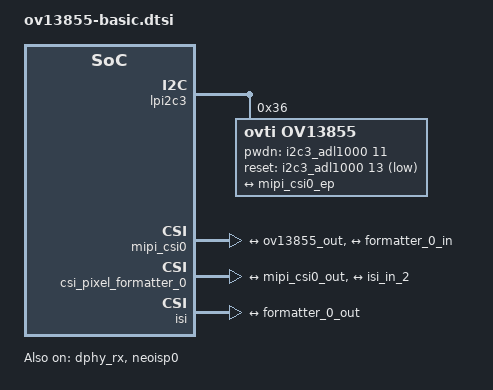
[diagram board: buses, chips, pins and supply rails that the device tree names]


&scmi_iomuxc {
	pinctrl_csi_mclk: csi_mclk {
		fsl,pins = <
			IMX95_PAD_CCM_CLKO1__CCMSRCGPCMIX_TOP_CLKO_1	0x39e
		>;
	};
};
&lpi2c3 {
	#address-cells = <1>;
	#size-cells = <0>;
	status = "okay";
	/*
	ov5640_0: ov5640_mipi@3c {
		compatible = "ovti,ov5640";
		reg = <0x3c>;
		pinctrl-names = "default";
		pinctrl-0 = <&pinctrl_csi_mclk>;
		clocks = <&scmi_clk IMX95_CLK_CCMCKO1>;
		clock-names = "xclk";
		assigned-clocks = <&scmi_clk IMX95_CLK_CCMCKO1>;
		assigned-clock-parents = <&osc_24m>;
		assigned-clock-rates = <24000000>;
		powerdown-gpios = <&i2c3_adl1000 10 GPIO_ACTIVE_HIGH>; 	//CN_GPIO0_CAM0_PWR#_1V8
		reset-gpios = <&i2c3_adl1000 12 GPIO_ACTIVE_LOW>;	//CN_GPIO2_CAM0_RST#_1V8
		status = "okay";
		port {
			ov13855_mipi_0_ep: endpoint {
				remote-endpoint = <&mipi_csi0_ep>;
				data-lanes = <1 2>;
				clock-lanes = <0>;
			};
		};
	};
	*/

	ov13855: ov13855_mipi@36 {
		compatible = "ovti,ov13855";				/*"ov13855_mipi";*/
		reg = <0x36>;
		clocks = <&dummy>;					/*dummy*/
	    clock-names = "xvclk";					/*clock-names = "csi_mclk";*/
		pwdn-gpios = <&i2c3_adl1000 11 GPIO_ACTIVE_HIGH>;
		reset-gpios = <&i2c3_adl1000 13 GPIO_ACTIVE_LOW>;
		mclk = <24000000>;
		mclk_source = <0>;
		virtual_channel = <0>;
		mipi_csi;
		status = "okay";
		port@0 {
			ov13855_out: endpoint {
					 remote-endpoint = <&mipi_csi0_ep>;
					 data-lanes = <1 2 3 4>;
					 clock-lanes = <0>;
			};
		};
	};
};
&dphy_rx {
	status = "okay";
};
&mipi_csi0 {
	status = "okay";
	ports {
		#address-cells = <1>;
		#size-cells = <0>;
		port@0 {
			reg = <0>;
			mipi_csi0_ep: endpoint {
				remote-endpoint = <&ov13855_out>;
				data-lanes = <1 2 3 4>;
				clock-lanes = <0>;
			};
		};
		port@1 {
			reg = <1>;
				mipi_csi0_out: endpoint {
				remote-endpoint = <&formatter_0_in>;
			};
		};
	};
};
&csi_pixel_formatter_0 {
	status = "okay";
	ports {
		#address-cells = <1>;
		#size-cells = <0>;
		port@0 {
			reg = <0>;
			formatter_0_in: endpoint {
				remote-endpoint = <&mipi_csi0_out>;
			};
		};
		port@1 {
			reg = <1>;
			formatter_0_out: endpoint {
				remote-endpoint = <&isi_in_2>;
			};
		};
	};
};
&isi {
	status = "okay";
	ports {
		#address-cells = <1>;
		#size-cells = <0>;
		port@2 {
			reg = <2>;
			isi_in_2: endpoint {
				remote-endpoint = <&formatter_0_out>;
			};
		};
	};
};
&neoisp0 {
        status = "okay";
};
